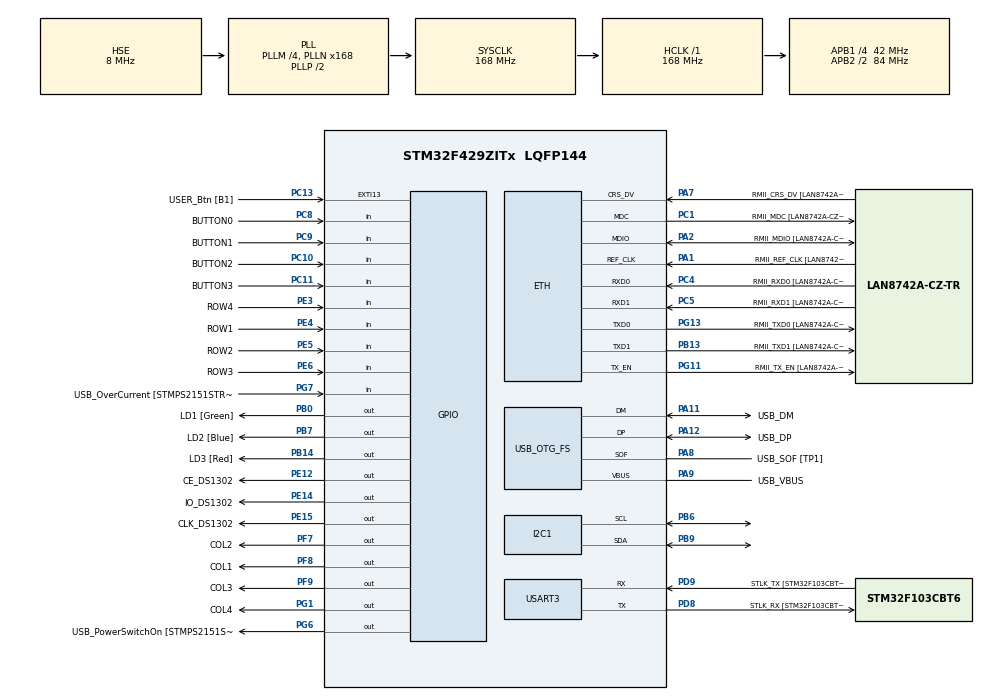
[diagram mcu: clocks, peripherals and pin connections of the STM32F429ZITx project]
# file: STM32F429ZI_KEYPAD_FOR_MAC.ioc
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ETH.MediaInterface=ETH_MEDIA_INTERFACE_RMII
ETH.PHY_Name=LAN8742A_PHY_ADDRESS
ETH.PHY_Value=0
ETH.PhyAddress=0
FREERTOS.Tasks01=defaultTask,24,128,StartDefaultTask,Default,NULL,Dynamic,NULL,NULL;myTask01,8,128,StartTask01,Default,NULL,Dynamic,NULL,NULL;myTask02,8,128,StartTask02,Default,NULL,Dynamic,NULL,NULL
Mcu.Family=STM32F4
Mcu.Name=STM32F429ZITx
Mcu.Package=LQFP144
NVIC.PriorityGroup=NVIC_PRIORITYGROUP_4
NVIC.TIM1_TRG_COM_TIM11_IRQn=true\:5\:0\:false\:false\:true\:true\:true\:true
PA1.GPIO_Label=RMII_REF_CLK [LAN8742A-CZ-TR_REFCLK0]
PA1.Mode=RMII
PA1.Signal=ETH_REF_CLK
PA10.GPIO_Label=USB_ID
PA10.Signal=USB_OTG_FS_ID
PA11.GPIO_Label=USB_DM
PA11.Mode=Device_Only
PA11.Signal=USB_OTG_FS_DM
PA12.GPIO_Label=USB_DP
PA12.Mode=Device_Only
PA12.Signal=USB_OTG_FS_DP
PA13.GPIO_Label=TMS
PA13.Mode=Serial_Wire
PA13.Signal=SYS_JTMS-SWDIO
PA14.GPIO_Label=TCK
PA14.Mode=Serial_Wire
PA14.Signal=SYS_JTCK-SWCLK
PA2.GPIO_Label=RMII_MDIO [LAN8742A-CZ-TR_MDIO]
PA2.Mode=RMII
PA2.Signal=ETH_MDIO
PA7.GPIO_Label=RMII_CRS_DV [LAN8742A-CZ-TR_CRS_DV]
PA7.Mode=RMII
PA7.Signal=ETH_CRS_DV
PA8.GPIO_Label=USB_SOF [TP1]
PA8.Mode=Activate_SOF_FS
PA8.Signal=USB_OTG_FS_SOF
PA9.GPIO_Label=USB_VBUS
PA9.Mode=Activate_VBUS
PA9.Signal=USB_OTG_FS_VBUS
PB0.GPIO_Label=LD1 [Green]
PB0.Signal=GPIO_Output
PB13.GPIO_Label=RMII_TXD1 [LAN8742A-CZ-TR_TXD1]
PB13.Mode=RMII
PB13.Signal=ETH_TXD1
PB14.GPIO_Label=LD3 [Red]
PB14.Signal=GPIO_Output
PB6.Mode=I2C
PB6.Signal=I2C1_SCL
PB7.GPIO_Label=LD2 [Blue]
PB7.Signal=GPIO_Output
PB9.Mode=I2C
PB9.Signal=I2C1_SDA
PC1.GPIO_Label=RMII_MDC [LAN8742A-CZ-TR_MDC]
PC1.Mode=RMII
PC1.Signal=ETH_MDC
PC10.GPIO_Label=BUTTON2
PC10.Signal=GPIO_Input
PC11.GPIO_Label=BUTTON3
PC11.Signal=GPIO_Input
PC13.GPIO_Label=USER_Btn [B1]
PC13.Signal=GPXTI13
PC14/OSC32_IN.Mode=LSE-External-Oscillator
PC14/OSC32_IN.Signal=RCC_OSC32_IN
PC15/OSC32_OUT.Mode=LSE-External-Oscillator
PC15/OSC32_OUT.Signal=RCC_OSC32_OUT
PC4.GPIO_Label=RMII_RXD0 [LAN8742A-CZ-TR_RXD0]
PC4.Mode=RMII
PC4.Signal=ETH_RXD0
PC5.GPIO_Label=RMII_RXD1 [LAN8742A-CZ-TR_RXD1]
PC5.Mode=RMII
PC5.Signal=ETH_RXD1
PC8.GPIO_Label=BUTTON0
PC8.Signal=GPIO_Input
PC9.GPIO_Label=BUTTON1
PC9.Signal=GPIO_Input
PD8.GPIO_Label=STLK_RX [STM32F103CBT6_PA3]
PD8.Mode=Asynchronous
PD8.Signal=USART3_TX
PD9.GPIO_Label=STLK_TX [STM32F103CBT6_PA2]
PD9.Mode=Asynchronous
PD9.Signal=USART3_RX
PE12.GPIO_Label=CE_DS1302
PE12.Signal=GPIO_Output
PE14.GPIO_Label=IO_DS1302
PE14.Signal=GPIO_Output
PE15.GPIO_Label=CLK_DS1302
PE15.Signal=GPIO_Output
PE3.GPIO_Label=ROW4
PE3.GPIO_PuPd=GPIO_PULLDOWN
PE3.Signal=GPIO_Input
PE4.GPIO_Label=ROW1
PE4.GPIO_PuPd=GPIO_PULLDOWN
PE4.Signal=GPIO_Input
PE5.GPIO_Label=ROW2
PE5.GPIO_PuPd=GPIO_PULLDOWN
PE5.Signal=GPIO_Input
PE6.GPIO_Label=ROW3
PE6.GPIO_PuPd=GPIO_PULLDOWN
PE6.Signal=GPIO_Input
PF7.GPIO_Label=COL2
PF7.Signal=GPIO_Output
PF8.GPIO_Label=COL1
PF8.Signal=GPIO_Output
PF9.GPIO_Label=COL3
PF9.Signal=GPIO_Output
PG1.GPIO_Label=COL4
PG1.Signal=GPIO_Output
PG11.GPIO_Label=RMII_TX_EN [LAN8742A-CZ-TR_TXEN]
PG11.Mode=RMII
PG11.Signal=ETH_TX_EN
PG13.GPIO_Label=RMII_TXD0 [LAN8742A-CZ-TR_TXD0]
PG13.Mode=RMII
PG13.Signal=ETH_TXD0
PG6.GPIO_Label=USB_PowerSwitchOn [STMPS2151STR_EN]
PG6.Signal=GPIO_Output
PG7.GPIO_Label=USB_OverCurrent [STMPS2151STR_FAULT]
PG7.Signal=GPIO_Input
PH0/OSC_IN.GPIO_Label=MCO [STM32F103CBT6_PA8]
PH0/OSC_IN.Mode=HSE-External-Clock-Source
PH0/OSC_IN.Signal=RCC_OSC_IN
PH1/OSC_OUT.Mode=HSE-External-Clock-Source
PH1/OSC_OUT.Signal=RCC_OSC_OUT
ProjectManager.HeapSize=0x200
ProjectManager.StackSize=0x400
ProjectManager.TargetToolchain=STM32CubeIDE
RCC.48MHZClocksFreq_Value=48000000
RCC.AHBFreq_Value=168000000
RCC.APB1CLKDivider=RCC_HCLK_DIV4
RCC.APB1Freq_Value=42000000
RCC.APB1TimFreq_Value=84000000
RCC.APB2CLKDivider=RCC_HCLK_DIV2
RCC.APB2Freq_Value=84000000
RCC.APB2TimCLKDivider=2
RCC.APB2TimFreq_Value=168000000
RCC.CortexFreq_Value=168000000
RCC.HCLKFreq_Value=168000000
RCC.HSE_VALUE=8000000
RCC.HSI_VALUE=16000000
RCC.PLLM=4
RCC.PLLMUL=RCC_PLL_MUL9
RCC.PLLN=168
RCC.PLLQ=7
RCC.PRESCALERUSB=RCC_USBCLKSOURCE_PLL_DIV1_5
RCC.SYSCLKFreq_VALUE=168000000
RCC.SYSCLKSource=RCC_SYSCLKSOURCE_PLLCLK
RCC.SYSCLKSourceVirtual=RCC_SYSCLKSOURCE_PLLCLK
RCC.USBFreq_Value=48000000
RCC.VCOOutputFreq_Value=336000000
TIM11.Period=65535
TIM11.Prescaler=168-1
USART3.VirtualMode=VM_ASYNC
USB_OTG_FS.VirtualMode=Device_Only
VP_FREERTOS_VS_CMSIS_V2.Mode=CMSIS_V2
VP_TIM11_VS_ClockSourceINT.Mode=Enable_Timer
board=NUCLEO-F429ZI

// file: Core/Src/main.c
/* USER CODE BEGIN Header */
/**
  ******************************************************************************
  * @file           : main.c
  * @brief          : Main program body
  ******************************************************************************
  * @attention
  *
  * <h2><center>&copy; Copyright (c) 2024 STMicroelectronics.
  * All rights reserved.</center></h2>
  *
  * This software component is licensed by ST under BSD 3-Clause license,
  * the "License"; You may not use this file except in compliance with the
  * License. You may obtain a copy of the License at:
  *                        opensource.org/licenses/BSD-3-Clause
  *
  ******************************************************************************
  */
/* USER CODE END Header */
#include "main.h"
#include "cmsis_os.h"

/* USER CODE BEGIN Includes */
#include "keypad.h"
#include "circularQueue.h"
/* USER CODE END Includes */

ETH_HandleTypeDef heth;

I2C_HandleTypeDef hi2c1;

TIM_HandleTypeDef htim11;

UART_HandleTypeDef huart3;

PCD_HandleTypeDef hpcd_USB_OTG_FS;

/* Definitions for defaultTask */
osThreadId_t defaultTaskHandle;
const osThreadAttr_t defaultTask_attributes = {
  .name = "defaultTask",
  .stack_size = 128 * 4,
  .priority = (osPriority_t) osPriorityNormal,
};
/* Definitions for myTask01 */
osThreadId_t myTask01Handle;
const osThreadAttr_t myTask01_attributes = {
  .name = "myTask01",
  .stack_size = 128 * 4,
  .priority = (osPriority_t) osPriorityLow,
};
/* Definitions for myTask02 */
osThreadId_t myTask02Handle;
const osThreadAttr_t myTask02_attributes = {
  .name = "myTask02",
  .stack_size = 128 * 4,
  .priority = (osPriority_t) osPriorityLow,
};

void SystemClock_Config(void);
static void MX_GPIO_Init(void);
static void MX_ETH_Init(void);
static void MX_USART3_UART_Init(void);
static void MX_USB_OTG_FS_PCD_Init(void);
static void MX_TIM11_Init(void);
static void MX_I2C1_Init(void);
void StartDefaultTask(void *argument);
void StartTask01(void *argument);
void StartTask02(void *argument);

/* USER CODE BEGIN PFP */
extern Queue keypad_queue;
extern void get_mathequation(void);
extern void i2c_lcd_init(void);
extern void lcd_cal(void);
/* USER CODE END PFP */

/* USER CODE BEGIN 0 */
// TIM11 : 65ms (1us * 65535 ==> about 65ms)
void HAL_TIM_PeriodElapsedCallback(TIM_HandleTypeDef *htim) // prove Timer operation!
{
	if (htim->Instance == TIM11)
	{
		uint8_t key_value;

		HAL_GPIO_TogglePin(LD1_GPIO_Port, LD1_Pin);
		key_value = keypadScan();

		if (key_value) // key_value >= 1
		{
			Enqueue(&keypad_queue, key_value); // insult circular queue
		}
	}
}

//------------ printf start -----------------------
#ifdef __GNUC__    // Add for printf
/* With GCC, small printf (option LD Linker->Libraries->Small printf
   set to 'Yes') calls __io_putchar() */
#define PUTCHAR_PROTOTYPE int __io_putchar(int ch)
#else
#define PUTCHAR_PROTOTYPE int fputc(int ch, FILE *f)
#endif /* __GNUC__ */
/**
  * @brief  Retargets the C library printf function to the USART.
  * @param  None
  * @retval None
  */
PUTCHAR_PROTOTYPE   // Add for printf
{
  /* Place your implementation of fputc here */
  /* e.g. write a character to the USART2 and Loop until the end of transmission */
  HAL_UART_Transmit(&huart3, (uint8_t *)&ch, 1, 0xFFFF);

  return ch;
}
//-------------------- printf end --------------------

/* USER CODE END 0 */

int main(void)
{

  /* MCU Configuration--------------------------------------------------------*/

  /* Reset of all peripherals, Initializes the Flash interface and the Systick. */
  HAL_Init();

  /* Configure the system clock */
  SystemClock_Config();

  /* Initialize all configured peripherals */
  MX_GPIO_Init();
  MX_ETH_Init();
  MX_USART3_UART_Init();
  MX_USB_OTG_FS_PCD_Init();
  MX_TIM11_Init();
  MX_I2C1_Init();
  /* USER CODE BEGIN 2 */
  HAL_TIM_Base_Start_IT(&htim11);  // 65.535ms Timer Interrupt

keypadInit();
i2c_lcd_init();
  /* USER CODE END 2 */

  /* Init scheduler */
  osKernelInitialize();

  /* Create the thread(s) */
  /* creation of defaultTask */
  defaultTaskHandle = osThreadNew(StartDefaultTask, NULL, &defaultTask_attributes);

  /* creation of myTask01 */
  myTask01Handle = osThreadNew(StartTask01, NULL, &myTask01_attributes);

  /* creation of myTask02 */
  myTask02Handle = osThreadNew(StartTask02, NULL, &myTask02_attributes);

  /* Start scheduler */
  osKernelStart();

  /* We should never get here as control is now taken by the scheduler */
  /* Infinite loop */
  while (1)
  {

  }
}

void SystemClock_Config(void)
{
  RCC_OscInitTypeDef RCC_OscInitStruct = {0};
  RCC_ClkInitTypeDef RCC_ClkInitStruct = {0};

  /** Configure the main internal regulator output voltage
  */
  __HAL_RCC_PWR_CLK_ENABLE();
  __HAL_PWR_VOLTAGESCALING_CONFIG(PWR_REGULATOR_VOLTAGE_SCALE1);
  /** Initializes the RCC Oscillators according to the specified parameters
  * in the RCC_OscInitTypeDef structure.
  */
  RCC_OscInitStruct.OscillatorType = RCC_OSCILLATORTYPE_HSE;
  RCC_OscInitStruct.HSEState = RCC_HSE_BYPASS;
  RCC_OscInitStruct.PLL.PLLState = RCC_PLL_ON;
  RCC_OscInitStruct.PLL.PLLSource = RCC_PLLSOURCE_HSE;
  RCC_OscInitStruct.PLL.PLLM = 4;
  RCC_OscInitStruct.PLL.PLLN = 168;
  RCC_OscInitStruct.PLL.PLLP = RCC_PLLP_DIV2;
  RCC_OscInitStruct.PLL.PLLQ = 7;
  if (HAL_RCC_OscConfig(&RCC_OscInitStruct) != HAL_OK)
  {
    Error_Handler();
  }
  /** Initializes the CPU, AHB and APB buses clocks
  */
  RCC_ClkInitStruct.ClockType = RCC_CLOCKTYPE_HCLK|RCC_CLOCKTYPE_SYSCLK
                              |RCC_CLOCKTYPE_PCLK1|RCC_CLOCKTYPE_PCLK2;
  RCC_ClkInitStruct.SYSCLKSource = RCC_SYSCLKSOURCE_PLLCLK;
  RCC_ClkInitStruct.AHBCLKDivider = RCC_SYSCLK_DIV1;
  RCC_ClkInitStruct.APB1CLKDivider = RCC_HCLK_DIV4;
  RCC_ClkInitStruct.APB2CLKDivider = RCC_HCLK_DIV2;

  if (HAL_RCC_ClockConfig(&RCC_ClkInitStruct, FLASH_LATENCY_5) != HAL_OK)
  {
    Error_Handler();
  }
}

static void MX_ETH_Init(void)
{

   static uint8_t MACAddr[6];

  heth.Instance = ETH;
  heth.Init.AutoNegotiation = ETH_AUTONEGOTIATION_ENABLE;
  heth.Init.Speed = ETH_SPEED_100M;
  heth.Init.DuplexMode = ETH_MODE_FULLDUPLEX;
  heth.Init.PhyAddress = LAN8742A_PHY_ADDRESS;
  MACAddr[0] = 0x00;
  MACAddr[1] = 0x80;
  MACAddr[2] = 0xE1;
  MACAddr[3] = 0x00;
  MACAddr[4] = 0x00;
  MACAddr[5] = 0x00;
  heth.Init.MACAddr = &MACAddr[0];
  heth.Init.RxMode = ETH_RXPOLLING_MODE;
  heth.Init.ChecksumMode = ETH_CHECKSUM_BY_HARDWARE;
  heth.Init.MediaInterface = ETH_MEDIA_INTERFACE_RMII;

  if (HAL_ETH_Init(&heth) != HAL_OK)
  {
    Error_Handler();
  }

}

static void MX_I2C1_Init(void)
{

  hi2c1.Instance = I2C1;
  hi2c1.Init.ClockSpeed = 100000;
  hi2c1.Init.DutyCycle = I2C_DUTYCYCLE_2;
  hi2c1.Init.OwnAddress1 = 0;
  hi2c1.Init.AddressingMode = I2C_ADDRESSINGMODE_7BIT;
  hi2c1.Init.DualAddressMode = I2C_DUALADDRESS_DISABLE;
  hi2c1.Init.OwnAddress2 = 0;
  hi2c1.Init.GeneralCallMode = I2C_GENERALCALL_DISABLE;
  hi2c1.Init.NoStretchMode = I2C_NOSTRETCH_DISABLE;
  if (HAL_I2C_Init(&hi2c1) != HAL_OK)
  {
    Error_Handler();
  }
  /** Configure Analogue filter
  */
  if (HAL_I2CEx_ConfigAnalogFilter(&hi2c1, I2C_ANALOGFILTER_ENABLE) != HAL_OK)
  {
    Error_Handler();
  }
  /** Configure Digital filter
  */
  if (HAL_I2CEx_ConfigDigitalFilter(&hi2c1, 0) != HAL_OK)
  {
    Error_Handler();
  }

}

static void MX_TIM11_Init(void)
{

  htim11.Instance = TIM11;
  htim11.Init.Prescaler = 168-1;
  htim11.Init.CounterMode = TIM_COUNTERMODE_UP;
  htim11.Init.Period = 65535;
  htim11.Init.ClockDivision = TIM_CLOCKDIVISION_DIV1;
  htim11.Init.AutoReloadPreload = TIM_AUTORELOAD_PRELOAD_DISABLE;
  if (HAL_TIM_Base_Init(&htim11) != HAL_OK)
  {
    Error_Handler();
  }

}

static void MX_USART3_UART_Init(void)
{

  huart3.Instance = USART3;
  huart3.Init.BaudRate = 115200;
  huart3.Init.WordLength = UART_WORDLENGTH_8B;
  huart3.Init.StopBits = UART_STOPBITS_1;
  huart3.Init.Parity = UART_PARITY_NONE;
  huart3.Init.Mode = UART_MODE_TX_RX;
  huart3.Init.HwFlowCtl = UART_HWCONTROL_NONE;
  huart3.Init.OverSampling = UART_OVERSAMPLING_16;
  if (HAL_UART_Init(&huart3) != HAL_OK)
  {
    Error_Handler();
  }

}

static void MX_USB_OTG_FS_PCD_Init(void)
{

  hpcd_USB_OTG_FS.Instance = USB_OTG_FS;
  hpcd_USB_OTG_FS.Init.dev_endpoints = 4;
  hpcd_USB_OTG_FS.Init.speed = PCD_SPEED_FULL;
  hpcd_USB_OTG_FS.Init.dma_enable = DISABLE;
  hpcd_USB_OTG_FS.Init.phy_itface = PCD_PHY_EMBEDDED;
  hpcd_USB_OTG_FS.Init.Sof_enable = ENABLE;
  hpcd_USB_OTG_FS.Init.low_power_enable = DISABLE;
  hpcd_USB_OTG_FS.Init.lpm_enable = DISABLE;
  hpcd_USB_OTG_FS.Init.vbus_sensing_enable = ENABLE;
  hpcd_USB_OTG_FS.Init.use_dedicated_ep1 = DISABLE;
  if (HAL_PCD_Init(&hpcd_USB_OTG_FS) != HAL_OK)
  {
    Error_Handler();
  }

}

static void MX_GPIO_Init(void)
{
  GPIO_InitTypeDef GPIO_InitStruct = {0};

  /* GPIO Ports Clock Enable */
  __HAL_RCC_GPIOE_CLK_ENABLE();
  __HAL_RCC_GPIOC_CLK_ENABLE();
  __HAL_RCC_GPIOF_CLK_ENABLE();
  __HAL_RCC_GPIOH_CLK_ENABLE();
  __HAL_RCC_GPIOA_CLK_ENABLE();
  __HAL_RCC_GPIOB_CLK_ENABLE();
  __HAL_RCC_GPIOG_CLK_ENABLE();
  __HAL_RCC_GPIOD_CLK_ENABLE();

  /*Configure GPIO pin Output Level */
  HAL_GPIO_WritePin(GPIOF, COL2_Pin|COL1_Pin|COL3_Pin, GPIO_PIN_RESET);

  /*Configure GPIO pin Output Level */
  HAL_GPIO_WritePin(GPIOB, LD1_Pin|LD3_Pin|LD2_Pin, GPIO_PIN_RESET);

  /*Configure GPIO pin Output Level */
  HAL_GPIO_WritePin(GPIOG, COL4_Pin|USB_PowerSwitchOn_Pin, GPIO_PIN_RESET);

  /*Configure GPIO pin Output Level */
  HAL_GPIO_WritePin(GPIOE, CE_DS1302_Pin|IO_DS1302_Pin|CLK_DS1302_Pin, GPIO_PIN_RESET);

  /*Configure GPIO pins : ROW4_Pin ROW1_Pin ROW2_Pin ROW3_Pin */
  GPIO_InitStruct.Pin = ROW4_Pin|ROW1_Pin|ROW2_Pin|ROW3_Pin;
  GPIO_InitStruct.Mode = GPIO_MODE_INPUT;
  GPIO_InitStruct.Pull = GPIO_PULLDOWN;
  HAL_GPIO_Init(GPIOE, &GPIO_InitStruct);

  /*Configure GPIO pin : USER_Btn_Pin */
  GPIO_InitStruct.Pin = USER_Btn_Pin;
  GPIO_InitStruct.Mode = GPIO_MODE_IT_RISING;
  GPIO_InitStruct.Pull = GPIO_NOPULL;
  HAL_GPIO_Init(USER_Btn_GPIO_Port, &GPIO_InitStruct);

  /*Configure GPIO pins : COL2_Pin COL1_Pin COL3_Pin */
  GPIO_InitStruct.Pin = COL2_Pin|COL1_Pin|COL3_Pin;
  GPIO_InitStruct.Mode = GPIO_MODE_OUTPUT_PP;
  GPIO_InitStruct.Pull = GPIO_NOPULL;
  GPIO_InitStruct.Speed = GPIO_SPEED_FREQ_LOW;
  HAL_GPIO_Init(GPIOF, &GPIO_InitStruct);

  /*Configure GPIO pins : LD1_Pin LD3_Pin LD2_Pin */
  GPIO_InitStruct.Pin = LD1_Pin|LD3_Pin|LD2_Pin;
  GPIO_InitStruct.Mode = GPIO_MODE_OUTPUT_PP;
  GPIO_InitStruct.Pull = GPIO_NOPULL;
  GPIO_InitStruct.Speed = GPIO_SPEED_FREQ_LOW;
  HAL_GPIO_Init(GPIOB, &GPIO_InitStruct);

  /*Configure GPIO pins : COL4_Pin USB_PowerSwitchOn_Pin */
  GPIO_InitStruct.Pin = COL4_Pin|USB_PowerSwitchOn_Pin;
  GPIO_InitStruct.Mode = GPIO_MODE_OUTPUT_PP;
  GPIO_InitStruct.Pull = GPIO_NOPULL;
  GPIO_InitStruct.Speed = GPIO_SPEED_FREQ_LOW;
  HAL_GPIO_Init(GPIOG, &GPIO_InitStruct);

  /*Configure GPIO pins : CE_DS1302_Pin IO_DS1302_Pin CLK_DS1302_Pin */
  GPIO_InitStruct.Pin = CE_DS1302_Pin|IO_DS1302_Pin|CLK_DS1302_Pin;
  GPIO_InitStruct.Mode = GPIO_MODE_OUTPUT_PP;
  GPIO_InitStruct.Pull = GPIO_NOPULL;
  GPIO_InitStruct.Speed = GPIO_SPEED_FREQ_LOW;
  HAL_GPIO_Init(GPIOE, &GPIO_InitStruct);

  /*Configure GPIO pin : USB_OverCurrent_Pin */
  GPIO_InitStruct.Pin = USB_OverCurrent_Pin;
  GPIO_InitStruct.Mode = GPIO_MODE_INPUT;
  GPIO_InitStruct.Pull = GPIO_NOPULL;
  HAL_GPIO_Init(USB_OverCurrent_GPIO_Port, &GPIO_InitStruct);

  /*Configure GPIO pins : BUTTON0_Pin BUTTON1_Pin BUTTON2_Pin BUTTON3_Pin */
  GPIO_InitStruct.Pin = BUTTON0_Pin|BUTTON1_Pin|BUTTON2_Pin|BUTTON3_Pin;
  GPIO_InitStruct.Mode = GPIO_MODE_INPUT;
  GPIO_InitStruct.Pull = GPIO_NOPULL;
  HAL_GPIO_Init(GPIOC, &GPIO_InitStruct);

}

void StartDefaultTask(void *argument)
{
  /* USER CODE BEGIN 5 */
  /* Infinite loop */
  for(;;)
  {
	  get_mathequation();
	  lcd_cal();
    osDelay(1);
  }
  /* USER CODE END 5 */
}

void StartTask01(void *argument)
{
  for(;;)
  {
    osDelay(1);
  }
}

void StartTask02(void *argument)
{
  for(;;)
  {
    osDelay(1);
  }
}

void Error_Handler(void)
{
  __disable_irq();
  while (1)
  {
  }
}

/************************ (C) COPYRIGHT STMicroelectronics *****END OF FILE****/
